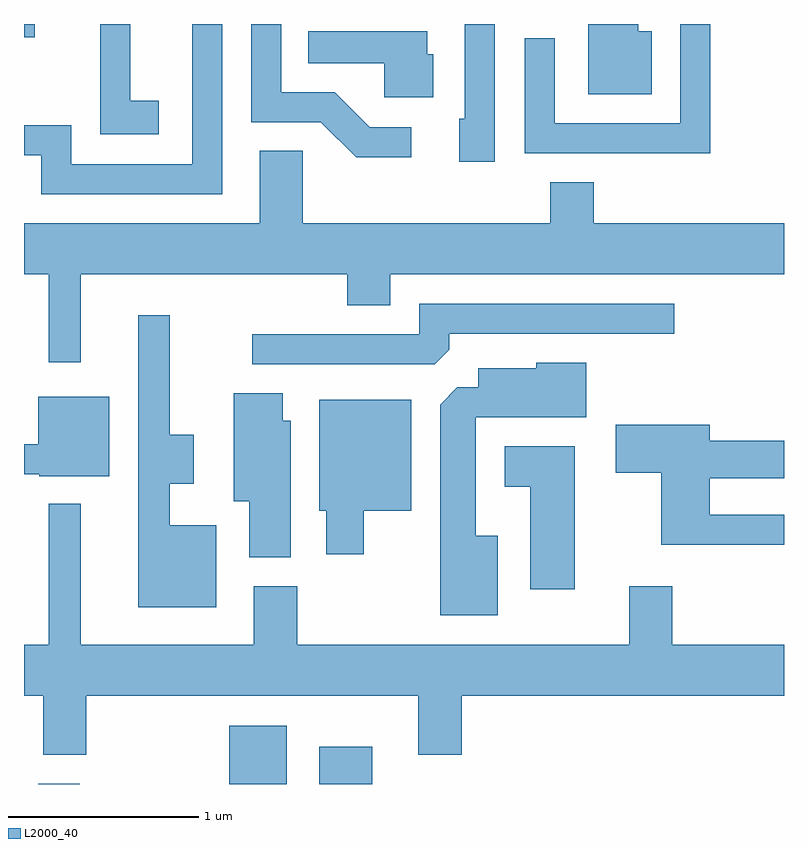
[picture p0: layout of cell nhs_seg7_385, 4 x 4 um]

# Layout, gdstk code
import gdstk
lib = gdstk.Library(unit=1e-6, precision=1e-09)
def R(c, l, rs):  # rectangles x0, y0, x1, y1
    for r in rs: c.add(gdstk.rectangle(r[:2], r[2:], *l))
def P(c, l, *ps):  # polygons
    for p in ps: c.add(gdstk.Polygon(p, *l))
L2000_40 = (2000, 40)

nhs_seg7_385 = lib.new_cell('nhs_seg7_385')
R(nhs_seg7_385, L2000_40, [(195.686,1758.252,195.904,1758.254), (196.691,1758.252,196.994,1758.559), (197.166,1758.252,197.444,1758.449), (195.611,1762.181,195.668,1762.252)])
P(nhs_seg7_385, L2000_40, [(197.648,1761.709),(197.432,1761.709),(197.247,1761.894),(196.964,1761.894),(196.964,1762.252),(196.806,1762.252),(196.806,1761.736),(197.174,1761.736),(197.359,1761.551),(197.648,1761.551)],
  [(198.089,1762.252),(197.931,1762.252),(197.931,1761.754),(197.901,1761.754),(197.901,1761.526),(198.089,1761.526)],
  [(198.914,1762.214),(198.844,1762.214),(198.844,1762.252),(198.581,1762.252),(198.581,1761.881),(198.914,1761.881)],
  [(196.319,1761.849),(196.169,1761.849),(196.169,1762.252),(196.011,1762.252),(196.011,1761.671),(196.319,1761.671)],
  [(196.654,1762.252),(196.496,1762.252),(196.496,1761.514),(195.859,1761.514),(195.859,1761.719),(195.611,1761.719),(195.611,1761.561),(195.701,1761.561),(195.701,1761.356),(196.654,1761.356)],
  [(199.224,1762.252),(199.066,1762.252),(199.066,1761.729),(198.404,1761.729),(198.404,1762.178),(198.246,1762.178),(198.246,1761.571),(199.224,1761.571)],
  [(197.764,1762.094),(197.734,1762.094),(197.734,1762.214),(197.108,1762.214),(197.108,1762.046),(197.506,1762.046),(197.506,1761.866),(197.764,1761.866)],
  [(195.909,1760.936),(197.311,1760.936),(197.311,1760.771),(197.539,1760.771),(197.539,1760.936),(199.611,1760.936),(199.611,1761.204),(198.609,1761.204),(198.609,1761.419),(198.381,1761.419),(198.381,1761.204),(197.079,1761.204),(197.079,1761.584),(196.851,1761.584),(196.851,1761.204),(195.611,1761.204),(195.611,1760.936),(195.741,1760.936),(195.741,1760.473),(195.909,1760.473)],
  [(197.849,1760.537),(197.849,1760.621),(199.033,1760.621),(199.033,1760.779),(197.691,1760.779),(197.691,1760.619),(196.813,1760.619),(196.813,1760.461),(197.774,1760.461)],
  [(196.624,1759.614),(196.379,1759.614),(196.379,1759.831),(196.504,1759.831),(196.504,1760.089),(196.379,1760.089),(196.379,1760.718),(196.211,1760.718),(196.211,1759.181),(196.624,1759.181)],
  [(198.104,1759.559),(197.989,1759.559),(197.989,1760.181),(198.569,1760.181),(198.569,1760.469),(198.306,1760.469),(198.306,1760.439),(198.001,1760.439),(198.001,1760.339),(197.892,1760.339),(197.801,1760.249),(197.801,1759.141),(198.104,1759.141)],
  [(197.014,1760.164),(196.974,1760.164),(196.974,1760.309),(196.716,1760.309),(196.716,1759.741),(196.796,1759.741),(196.796,1759.446),(197.014,1759.446)],
  [(196.059,1760.289),(195.686,1760.289),(195.686,1760.039),(195.611,1760.039),(195.611,1759.881),(195.69,1759.881),(195.69,1759.871),(196.059,1759.871)],
  [(197.399,1759.691),(197.649,1759.691),(197.649,1760.274),(197.166,1760.274),(197.166,1759.691),(197.201,1759.691),(197.201,1759.461),(197.399,1759.461)],
  [(199.611,1759.669),(199.219,1759.669),(199.219,1759.861),(199.611,1759.861),(199.611,1760.059),(199.219,1760.059),(199.219,1760.144),(198.726,1760.144),(198.726,1759.891),(198.966,1759.891),(198.966,1759.511),(199.611,1759.511)],
  [(198.509,1760.029),(198.141,1760.029),(198.141,1759.816),(198.276,1759.816),(198.276,1759.276),(198.509,1759.276)],
  [(195.939,1758.716),(197.686,1758.716),(197.686,1758.406),(197.914,1758.406),(197.914,1758.716),(199.611,1758.716),(199.611,1758.984),(199.024,1758.984),(199.024,1759.294),(198.796,1759.294),(198.796,1758.984),(197.049,1758.984),(197.049,1759.294),(196.821,1759.294),(196.821,1758.984),(195.909,1758.984),(195.909,1759.728),(195.741,1759.728),(195.741,1758.984),(195.611,1758.984),(195.611,1758.716),(195.711,1758.716),(195.711,1758.406),(195.939,1758.406)])

lib.write_gds('nhs_seg7_385.gds')
